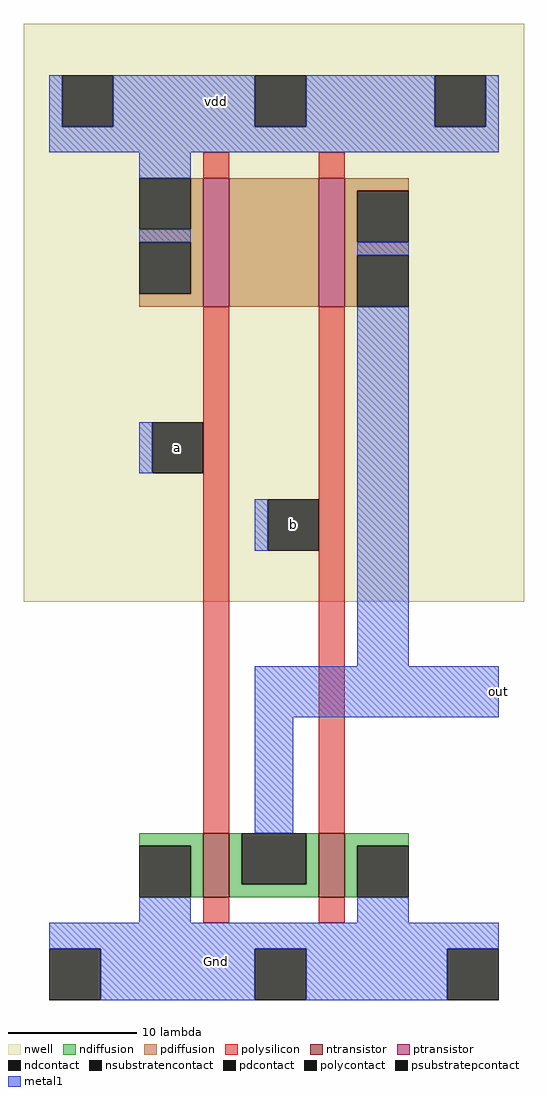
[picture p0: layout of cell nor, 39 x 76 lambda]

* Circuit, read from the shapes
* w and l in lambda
.subckt nor Gnd a b out vdd
M1 out a Gnd Gnd nfet w=5 l=2
M2 Gnd b out Gnd nfet w=5 l=2
M3 n1 a vdd vdd pfet w=10 l=2
M4 out b n1 vdd pfet w=10 l=2
.ends

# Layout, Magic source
magic
tech min2
<< nwell >>
rect -13 24 26 69
<< ntransistor >>
rect 1 1 3 6
rect 10 1 12 6
<< ptransistor >>
rect 1 47 3 57
rect 10 47 12 57
<< ndiffusion >>
rect -4 5 1 6
rect 0 1 1 5
rect 3 2 4 6
rect 9 2 10 6
rect 3 1 10 2
rect 12 5 17 6
rect 12 1 13 5
<< pdiffusion >>
rect 0 53 1 57
rect -4 52 1 53
rect 0 48 1 52
rect -4 47 1 48
rect 3 47 10 57
rect 12 56 17 57
rect 12 52 13 56
rect 12 51 17 52
rect 12 47 13 51
<< ndcontact >>
rect -4 1 0 5
rect 4 2 9 6
rect 13 1 17 5
<< pdcontact >>
rect -4 53 0 57
rect -4 48 0 52
rect 13 52 17 56
rect 13 47 17 51
<< psubstratepcontact >>
rect -11 -7 -7 -3
rect 5 -7 9 -3
rect 20 -7 24 -3
<< nsubstratencontact >>
rect -10 61 -6 65
rect 5 61 9 65
rect 19 61 23 65
<< polysilicon >>
rect 1 57 3 59
rect 10 57 12 59
rect 1 6 3 47
rect 10 6 12 47
rect 1 -1 3 1
rect 10 -1 12 1
<< polycontact >>
rect -3 34 1 38
rect 6 28 10 32
<< metal1 >>
rect -11 61 -10 65
rect -6 61 5 65
rect 9 61 19 65
rect 23 61 24 65
rect -11 59 24 61
rect -4 57 0 59
rect -4 52 0 53
rect 13 51 17 52
rect -4 34 -3 38
rect 5 28 6 32
rect 13 19 17 47
rect 5 15 24 19
rect 5 6 8 15
rect -4 -1 0 1
rect 13 -1 17 1
rect -11 -3 24 -1
rect -7 -7 5 -3
rect 9 -7 20 -3
<< labels >>
rlabel metal1 2 -4 2 -4 1 Gnd
rlabel metal1 24 15 24 19 7 out
rlabel metal1 2 63 2 63 5 vdd
rlabel polycontact -1 36 -1 36 1 a
rlabel polycontact 8 30 8 30 1 b
<< end >>
